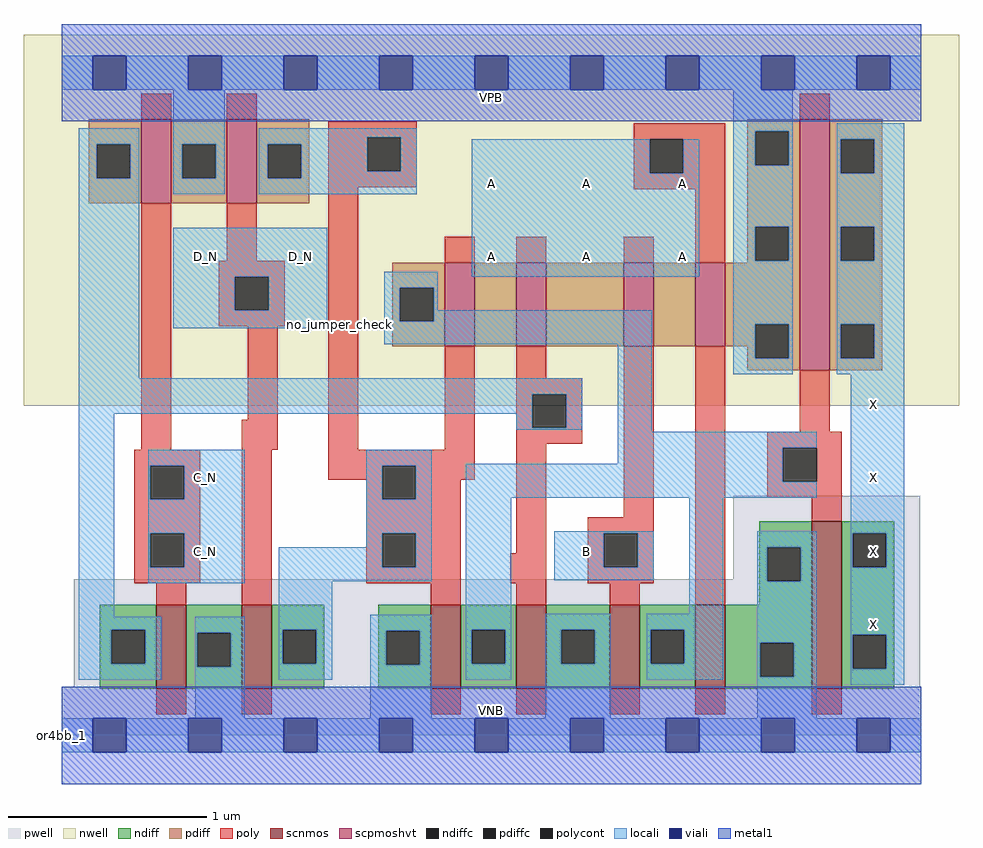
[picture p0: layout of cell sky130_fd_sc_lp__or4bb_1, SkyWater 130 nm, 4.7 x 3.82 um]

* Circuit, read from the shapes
.subckt sky130_fd_sc_lp__or4bb_1 A B C_N D_N VGND VNB VPB VPWR X
XM1 VGND C_N n1 VNB sky130_fd_pr__nfet_01v8 w=0.42 l=0.15
XM2 n2 D_N VGND VNB sky130_fd_pr__nfet_01v8 w=0.42 l=0.15
XM3 n3 n2 VGND VNB sky130_fd_pr__nfet_01v8 w=0.42 l=0.15
XM4 VGND n1 n3 VNB sky130_fd_pr__nfet_01v8 w=0.42 l=0.15
XM5 n3 B VGND VNB sky130_fd_pr__nfet_01v8 w=0.42 l=0.15
XM6 VGND A n3 VNB sky130_fd_pr__nfet_01v8 w=0.42 l=0.15
XM7 X n3 VGND VNB sky130_fd_pr__nfet_01v8 w=0.84 l=0.15
XM8 VPWR C_N n1 VPB sky130_fd_pr__pfet_01v8_hvt w=0.42 l=0.15
XM9 n2 D_N VPWR VPB sky130_fd_pr__pfet_01v8_hvt w=0.42 l=0.15
XM10 n4 n2 n3 VPB sky130_fd_pr__pfet_01v8_hvt w=0.42 l=0.15
XM11 n5 n1 n4 VPB sky130_fd_pr__pfet_01v8_hvt w=0.42 l=0.15
XM12 n6 B n5 VPB sky130_fd_pr__pfet_01v8_hvt w=0.42 l=0.15
XM13 VPWR A n6 VPB sky130_fd_pr__pfet_01v8_hvt w=0.42 l=0.15
XM14 X n3 VPWR VPB sky130_fd_pr__pfet_01v8_hvt w=1.26 l=0.15
.ends

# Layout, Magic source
magic
tech sky130A
magscale 1 2
<< nwell >>
rect -38 331 902 704
<< pwell >>
rect 675 157 863 241
rect 12 49 863 157
rect 0 0 864 49
<< scnmos >>
rect 95 47 125 131
rect 181 47 211 131
rect 371 47 401 131
rect 457 47 487 131
rect 551 47 581 131
rect 637 47 667 131
rect 754 47 784 215
<< scpmoshvt >>
rect 80 535 110 619
rect 166 535 196 619
rect 385 391 415 475
rect 457 391 487 475
rect 565 391 595 475
rect 637 391 667 475
rect 742 367 772 619
<< ndiff >>
rect 701 189 754 215
rect 701 155 709 189
rect 743 155 754 189
rect 701 131 754 155
rect 38 106 95 131
rect 38 72 50 106
rect 84 72 95 106
rect 38 47 95 72
rect 125 103 181 131
rect 125 69 136 103
rect 170 69 181 103
rect 125 47 181 69
rect 211 106 264 131
rect 211 72 222 106
rect 256 72 264 106
rect 211 47 264 72
rect 318 105 371 131
rect 318 71 326 105
rect 360 71 371 105
rect 318 47 371 71
rect 401 106 457 131
rect 401 72 412 106
rect 446 72 457 106
rect 401 47 457 72
rect 487 106 551 131
rect 487 72 502 106
rect 536 72 551 106
rect 487 47 551 72
rect 581 106 637 131
rect 581 72 592 106
rect 626 72 637 106
rect 581 47 637 72
rect 667 93 754 131
rect 667 59 702 93
rect 736 59 754 93
rect 667 47 754 59
rect 784 203 837 215
rect 784 169 795 203
rect 829 169 837 203
rect 784 101 837 169
rect 784 67 795 101
rect 829 67 837 101
rect 784 47 837 67
<< pdiff >>
rect 27 594 80 619
rect 27 560 35 594
rect 69 560 80 594
rect 27 535 80 560
rect 110 594 166 619
rect 110 560 121 594
rect 155 560 166 594
rect 110 535 166 560
rect 196 594 249 619
rect 196 560 207 594
rect 241 560 249 594
rect 196 535 249 560
rect 689 607 742 619
rect 689 573 697 607
rect 731 573 742 607
rect 689 511 742 573
rect 689 477 697 511
rect 731 477 742 511
rect 689 475 742 477
rect 332 450 385 475
rect 332 416 340 450
rect 374 416 385 450
rect 332 391 385 416
rect 415 391 457 475
rect 487 391 565 475
rect 595 391 637 475
rect 667 413 742 475
rect 667 391 697 413
rect 689 379 697 391
rect 731 379 742 413
rect 689 367 742 379
rect 772 599 825 619
rect 772 565 783 599
rect 817 565 825 599
rect 772 511 825 565
rect 772 477 783 511
rect 817 477 825 511
rect 772 413 825 477
rect 772 379 783 413
rect 817 379 825 413
rect 772 367 825 379
<< ndiffc >>
rect 709 155 743 189
rect 50 72 84 106
rect 136 69 170 103
rect 222 72 256 106
rect 326 71 360 105
rect 412 72 446 106
rect 502 72 536 106
rect 592 72 626 106
rect 702 59 736 93
rect 795 169 829 203
rect 795 67 829 101
<< pdiffc >>
rect 35 560 69 594
rect 121 560 155 594
rect 207 560 241 594
rect 697 573 731 607
rect 697 477 731 511
rect 340 416 374 450
rect 697 379 731 413
rect 783 565 817 599
rect 783 477 817 511
rect 783 379 817 413
<< poly >>
rect 80 619 110 645
rect 166 619 196 645
rect 742 619 772 645
rect 268 601 357 617
rect 268 567 307 601
rect 341 567 357 601
rect 268 551 357 567
rect 575 599 667 615
rect 575 565 591 599
rect 625 565 667 599
rect 80 287 110 535
rect 166 477 196 535
rect 158 461 224 477
rect 158 427 174 461
rect 208 427 224 461
rect 158 411 224 427
rect 187 317 217 411
rect 181 287 217 317
rect 268 287 298 551
rect 575 549 667 565
rect 385 475 415 501
rect 457 475 487 501
rect 565 475 595 501
rect 637 475 667 549
rect 385 287 415 391
rect 73 271 139 287
rect 73 237 89 271
rect 123 237 139 271
rect 73 203 139 237
rect 73 169 89 203
rect 123 169 139 203
rect 73 153 139 169
rect 95 131 125 153
rect 181 131 211 287
rect 268 271 415 287
rect 268 257 322 271
rect 306 237 322 257
rect 356 257 415 271
rect 457 359 487 391
rect 457 343 523 359
rect 457 309 473 343
rect 507 309 523 343
rect 457 293 523 309
rect 356 237 401 257
rect 306 203 401 237
rect 306 169 322 203
rect 356 169 401 203
rect 457 183 487 293
rect 565 219 595 391
rect 306 153 401 169
rect 451 153 487 183
rect 529 203 595 219
rect 529 169 545 203
rect 579 169 595 203
rect 529 153 595 169
rect 371 131 401 153
rect 457 131 487 153
rect 551 131 581 153
rect 637 131 667 391
rect 742 305 772 367
rect 709 289 784 305
rect 709 255 725 289
rect 759 255 784 289
rect 709 239 784 255
rect 754 215 784 239
rect 95 21 125 47
rect 181 21 211 47
rect 371 21 401 47
rect 457 21 487 47
rect 551 21 581 47
rect 637 21 667 47
rect 754 21 784 47
<< polycont >>
rect 307 567 341 601
rect 591 565 625 599
rect 174 427 208 461
rect 89 237 123 271
rect 89 169 123 203
rect 322 237 356 271
rect 473 309 507 343
rect 322 169 356 203
rect 545 169 579 203
rect 725 255 759 289
<< locali >>
rect 0 649 31 683
rect 65 649 127 683
rect 161 649 223 683
rect 257 649 319 683
rect 353 649 415 683
rect 449 649 511 683
rect 545 649 607 683
rect 641 649 703 683
rect 737 649 799 683
rect 833 649 864 683
rect 17 594 78 610
rect 17 560 35 594
rect 69 560 78 594
rect 17 359 78 560
rect 112 594 164 649
rect 112 560 121 594
rect 155 560 164 594
rect 112 544 164 560
rect 198 601 357 610
rect 198 594 307 601
rect 198 560 207 594
rect 241 567 307 594
rect 341 567 357 601
rect 675 607 735 649
rect 241 560 357 567
rect 198 544 357 560
rect 412 565 591 599
rect 625 565 641 599
rect 112 461 267 510
rect 112 427 174 461
rect 208 427 267 461
rect 112 409 267 427
rect 324 450 378 466
rect 412 461 641 565
rect 675 573 697 607
rect 731 573 735 607
rect 675 511 735 573
rect 675 477 697 511
rect 731 477 735 511
rect 324 416 340 450
rect 374 427 378 450
rect 374 416 593 427
rect 324 393 593 416
rect 17 343 523 359
rect 17 323 473 343
rect 17 119 53 323
rect 457 309 473 323
rect 507 309 523 343
rect 457 307 523 309
rect 559 305 593 393
rect 675 413 735 477
rect 675 379 697 413
rect 731 379 735 413
rect 675 363 735 379
rect 779 599 847 615
rect 779 565 783 599
rect 817 565 847 599
rect 779 511 847 565
rect 779 477 783 511
rect 817 477 847 511
rect 779 413 847 477
rect 779 379 783 413
rect 817 379 847 413
rect 779 363 847 379
rect 559 289 759 305
rect 87 271 184 287
rect 87 237 89 271
rect 123 237 184 271
rect 87 203 184 237
rect 87 169 89 203
rect 123 169 184 203
rect 306 271 372 287
rect 559 273 725 289
rect 306 237 322 271
rect 356 237 372 271
rect 306 203 372 237
rect 306 189 322 203
rect 87 153 184 169
rect 218 169 322 189
rect 356 169 372 203
rect 218 155 372 169
rect 406 255 725 273
rect 406 239 759 255
rect 17 106 100 119
rect 17 72 50 106
rect 84 72 100 106
rect 17 56 100 72
rect 134 103 184 119
rect 134 69 136 103
rect 170 69 184 103
rect 134 17 184 69
rect 218 106 272 155
rect 218 72 222 106
rect 256 72 272 106
rect 218 56 272 72
rect 310 105 372 121
rect 310 71 326 105
rect 360 71 372 105
rect 310 17 372 71
rect 406 106 452 239
rect 495 203 595 205
rect 495 169 545 203
rect 579 169 595 203
rect 495 156 595 169
rect 631 122 665 239
rect 406 72 412 106
rect 446 72 452 106
rect 406 56 452 72
rect 486 106 552 122
rect 486 72 502 106
rect 536 72 552 106
rect 486 17 552 72
rect 588 106 665 122
rect 588 72 592 106
rect 626 72 665 106
rect 588 56 665 72
rect 699 189 759 205
rect 699 155 709 189
rect 743 155 759 189
rect 699 93 759 155
rect 699 59 702 93
rect 736 59 759 93
rect 699 17 759 59
rect 793 203 847 363
rect 793 169 795 203
rect 829 169 847 203
rect 793 101 847 169
rect 793 67 795 101
rect 829 67 847 101
rect 793 51 847 67
rect 0 -17 31 17
rect 65 -17 127 17
rect 161 -17 223 17
rect 257 -17 319 17
rect 353 -17 415 17
rect 449 -17 511 17
rect 545 -17 607 17
rect 641 -17 703 17
rect 737 -17 799 17
rect 833 -17 864 17
<< viali >>
rect 31 649 65 683
rect 127 649 161 683
rect 223 649 257 683
rect 319 649 353 683
rect 415 649 449 683
rect 511 649 545 683
rect 607 649 641 683
rect 703 649 737 683
rect 799 649 833 683
rect 31 -17 65 17
rect 127 -17 161 17
rect 223 -17 257 17
rect 319 -17 353 17
rect 415 -17 449 17
rect 511 -17 545 17
rect 607 -17 641 17
rect 703 -17 737 17
rect 799 -17 833 17
<< metal1 >>
rect 0 683 864 715
rect 0 649 31 683
rect 65 649 127 683
rect 161 649 223 683
rect 257 649 319 683
rect 353 649 415 683
rect 449 649 511 683
rect 545 649 607 683
rect 641 649 703 683
rect 737 649 799 683
rect 833 649 864 683
rect 0 617 864 649
rect 0 17 864 49
rect 0 -17 31 17
rect 65 -17 127 17
rect 161 -17 223 17
rect 257 -17 319 17
rect 353 -17 415 17
rect 449 -17 511 17
rect 545 -17 607 17
rect 641 -17 703 17
rect 737 -17 799 17
rect 833 -17 864 17
rect 0 -49 864 -17
<< labels >>
flabel pwell s 0 0 864 49 0 FreeSans 200 0 0 0 VNB
port 6 nsew ground bidirectional
flabel nwell s 0 617 864 666 0 FreeSans 200 0 0 0 VPB
port 7 nsew power bidirectional
rlabel comment s 0 0 0 0 4 or4bb_1
flabel comment s 279 413 279 413 0 FreeSans 200 90 0 0 no_jumper_check
flabel metal1 s 0 617 864 666 0 FreeSans 340 0 0 0 VPWR
port 8 nsew power bidirectional
flabel metal1 s 0 0 864 49 0 FreeSans 340 0 0 0 VGND
port 5 nsew ground bidirectional
flabel locali s 511 168 545 202 0 FreeSans 340 0 0 0 B
port 2 nsew signal input
flabel locali s 127 168 161 202 0 FreeSans 340 0 0 0 C_N
port 3 nsew signal input
flabel locali s 127 242 161 276 0 FreeSans 340 0 0 0 C_N
port 3 nsew signal input
flabel locali s 127 464 161 498 0 FreeSans 340 0 0 0 D_N
port 4 nsew signal input
flabel locali s 223 464 257 498 0 FreeSans 340 0 0 0 D_N
port 4 nsew signal input
flabel locali s 799 94 833 128 0 FreeSans 340 0 0 0 X
port 9 nsew signal output
flabel locali s 799 168 833 202 0 FreeSans 340 0 0 0 X
port 9 nsew signal output
flabel locali s 799 242 833 276 0 FreeSans 340 0 0 0 X
port 9 nsew signal output
flabel locali s 799 316 833 350 0 FreeSans 340 0 0 0 X
port 9 nsew signal output
flabel locali s 415 464 449 498 0 FreeSans 340 0 0 0 A
port 1 nsew signal input
flabel locali s 415 538 449 572 0 FreeSans 340 0 0 0 A
port 1 nsew signal input
flabel locali s 511 464 545 498 0 FreeSans 340 0 0 0 A
port 1 nsew signal input
flabel locali s 511 538 545 572 0 FreeSans 340 0 0 0 A
port 1 nsew signal input
flabel locali s 607 464 641 498 0 FreeSans 340 0 0 0 A
port 1 nsew signal input
flabel locali s 607 538 641 572 0 FreeSans 340 0 0 0 A
port 1 nsew signal input
<< properties >>
string LEFsite unit
string LEFclass CORE
string FIXED_BBOX 0 0 864 666
string GDS_FILE $PDKPATH/libs.ref/sky130_fd_sc_lp/gds/sky130_fd_sc_lp.gds
string LEFsymmetry X Y R90
string GDS_END 6650124
string GDS_START 6641052
<< end >>
